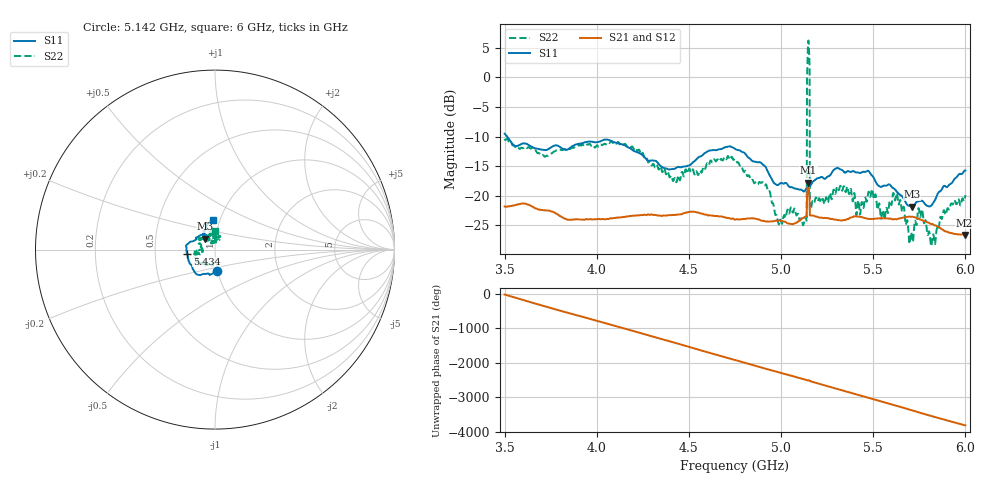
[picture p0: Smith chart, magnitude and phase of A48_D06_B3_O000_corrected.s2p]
! Created with skrf 1.9.0 (http://scikit-rf.org).
# Hz S RI R 50.0
!freq ReS11 ImS11 ReS21 ImS21 ReS12 ImS12 ReS22 ImS22
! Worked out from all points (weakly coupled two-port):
!   1601 points, 3.5 GHz to 6 GHz, reference 50 ohm
!   highest |S21| = -17.76 dB at 5.147 GHz (marker M1); lowest = -26.6 dB at 5.995 GHz (marker M2)
!   lowest |S11| = -21.9 dB at 5.711 GHz (marker M3), VSWR 1.18, Z = 44.6 + j5.47 ohm
!   |S11| at or under -10 dB: 3.514 GHz to end of sweep
!   |S22| runs from -28.5 to 6.3 dB; largest |S21 - S12| = 0.0011
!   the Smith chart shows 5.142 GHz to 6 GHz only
!   S11 on the Smith chart (normalised r, x): 5.142 GHz: 0.99, -0.23; 5.434 GHz: 0.73, -0.03; 6 GHz: 0.93, +0.31
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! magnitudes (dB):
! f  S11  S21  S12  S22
! 3.5 GHz  -9.5  -21.8  -21.8  -10.4
! 3.917 GHz  -11.2  -24.0  -24.0  -11.4
! 4.334 GHz  -14.6  -23.3  -23.3  -15.5
! 4.423 GHz  -15.4  -23.2  -23.2  -17.0
! 4.75 GHz  -12.0  -24.0  -24.0  -13.8
! 4.912 GHz  -15.0  -24.3  -24.3  -18.2
! 4.994 GHz  -17.9  -24.2  -24.1  -24.2
! 5.127 GHz  -19.2  -23.6  -23.6  -24.1
! 5.142 GHz  -18.6  -19.6  -19.5  1.5
! 5.147 GHz  -18.6  -17.8  -17.8  5.9
! 5.153 GHz  -18.5  -20.0  -20.0  3.6
! 5.167 GHz  -17.8  -23.4  -23.3  -21.3
! 5.331 GHz  -15.7  -24.2  -24.1  -19.1
! 5.434 GHz  -16.1  -23.6  -23.6  -21.7
! 5.484 GHz  -16.2  -23.9  -23.9  -20.2
! 5.584 GHz  -18.1  -23.9  -23.8  -21.9
! 5.636 GHz  -19.6  -23.9  -23.8  -21.2
! 5.711 GHz  -21.9  -23.5  -23.5  -27.1
! 5.755 GHz  -20.9  -24.0  -24.0  -23.6
! 5.825 GHz  -21.2  -24.9  -24.8  -26.5
! 5.995 GHz  -15.8  -26.6  -26.5  -20.6
! 6 GHz  -15.7  -26.6  -26.5  -19.9
